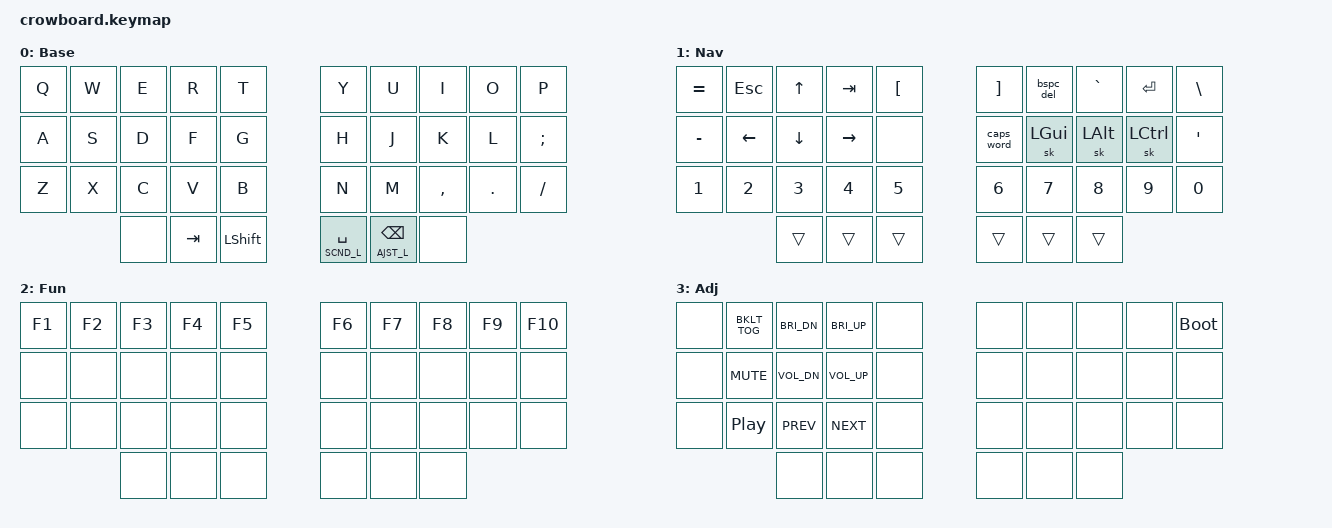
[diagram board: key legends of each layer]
/*
 * Copyright (c) 2020 The ZMK Contributors
 *
 * SPDX-License-Identifier: MIT
 */

#include <behaviors.dtsi>
#include <dt-bindings/zmk/keys.h>
#include <dt-bindings/zmk/bt.h>
#include <dt-bindings/zmk/matrix_transform.h>

#define BASE_L 0
#define SCND_L 1
#define FUNC_L 2
#define AJST_L 3

/ {
        behaviors {
                bspc_del: backspace_delete {
                        compatible = "zmk,behavior-mod-morph";
                        #binding-cells = <0>;
                        bindings = <&kp BACKSPACE>, <&kp DELETE>;
                        mods = <(MOD_LSFT|MOD_RSFT)>;
                        keep-mods = <(MOD_RSFT)>;
                };
        };

        combos {
                compatible = "zmk,combos";
                
                combo_escape {
                        timeout-ms = <50>;
                        key-positions = <11 12>;
                        bindings = <&kp ESC>;
                };

                combo_tab {
                        timeout-ms = <50>;
                        key-positions = <12 13>;
                        bindings = <&kp TAB>;
                };

                combo_backspace {
                        timeout-ms = <50>;
                        key-positions = <16 17>;
                        bindings = <&bspc_del>;
                };

                combo_enter {
                        timeout-ms = <50>;
                        key-positions = <17 18>;
                        bindings = <&kp ENTER>;
                };
                
                combo_capsword{
                        timeout-ms = <50>;
                        key-positions = <16 17 18>;
                        bindings = <&caps_word>;
                };
        };
        
        keymap {
                compatible = "zmk,keymap";
                
                default_layer {
                        display-name = "Base";
                        bindings = <
                                &kp Q &kp W &kp E &kp R &kp T     &kp Y &kp U &kp I     &kp O   &kp P
                                &kp A &kp S &kp D &kp F &kp G     &kp H &kp J &kp K     &kp L   &kp SEMI
                                &kp Z &kp X &kp C &kp V &kp B     &kp N &kp M &kp COMMA &kp DOT &kp FSLH
                                     &none &kp TAB &kp LSHIFT     &lt SCND_L SPACE &lt AJST_L BSPC &none
                        >;
                };
                
                secondary_layer {
                        display-name = "Nav";
                        bindings = <
                                &kp EQUAL &kp ESC  &kp UP   &kp TAB   &kp LBKT    &kp RBKT   &bspc_del &kp GRAVE &kp ENTER &kp BSLH
                                &kp MINUS &kp LEFT &kp DOWN &kp RIGHT &none       &caps_word &sk LGUI  &sk LALT  &sk LCTRL &kp SQT
                                &kp N1    &kp N2   &kp N3   &kp N4    &kp N5      &kp N6     &kp N7    &kp N8    &kp N9    &kp N0
                                                         &trans &trans &trans     &trans &trans &trans
                        >;
                };

                function_layer {
                        display-name = "Fun";
                        bindings = <
                                &kp F1 &kp F2 &kp F3 &kp F4 &kp F5     &kp F6 &kp F7 &kp F8 &kp F9 &kp F10
                                &none  &none  &none  &none  &none      &none  &none  &none  &none  &none
                                &none  &none  &none  &none  &none      &none  &none  &none  &none  &none
                                                &none &none &none      &none &none &none
                        >;
                };

                adjust_layer {
                        display-name = "Adj";
                        bindings = <
                                &none &kp C_BKLT_TOG   &kp C_BRI_DN &kp C_BRI_UP &none     &none &none &none &none &bootloader
                                &none &kp C_MUTE       &kp C_VOL_DN &kp C_VOL_UP &none     &none &none &none &none &none
                                &none &kp C_PLAY_PAUSE &kp C_PREV   &kp C_NEXT   &none     &none &none &none &none &none
                                                                     &none &none &none     &none &none &none
                        >;      
                };
        };
};
